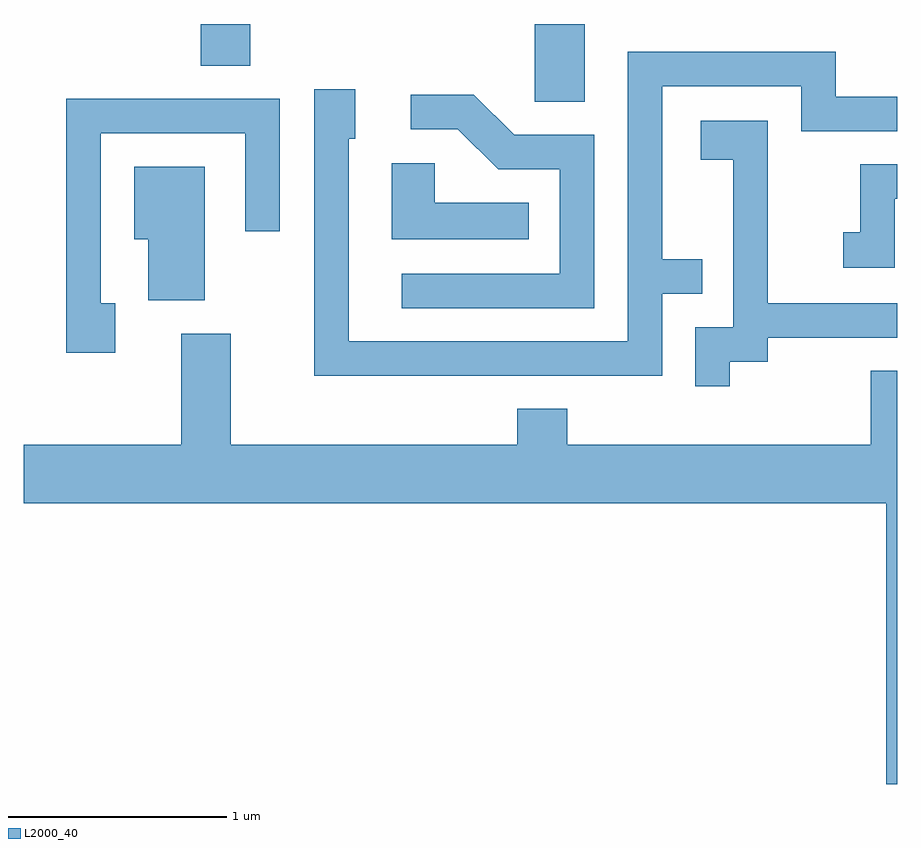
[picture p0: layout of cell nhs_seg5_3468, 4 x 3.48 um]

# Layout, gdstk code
import gdstk
lib = gdstk.Library(unit=1e-6, precision=1e-09)
def R(c, l, rs):  # rectangles x0, y0, x1, y1
    for r in rs: c.add(gdstk.rectangle(r[:2], r[2:], *l))
def P(c, l, *ps):  # polygons
    for p in ps: c.add(gdstk.Polygon(p, *l))
L2000_40 = (2000, 40)

nhs_seg5_3468 = lib.new_cell('nhs_seg5_3468')
R(nhs_seg5_3468, L2000_40, [(289.951,1489.716,290.179,1490.072), (288.421,1489.881,288.649,1490.072)])
P(nhs_seg5_3468, L2000_40, [(290.534,1488.836),(290.718,1488.836),(290.718,1488.994),(290.534,1488.994),(290.534,1489.786),(291.171,1489.786),(291.171,1489.581),(291.611,1489.581),(291.611,1489.739),(291.329,1489.739),(291.329,1489.944),(290.376,1489.944),(290.376,1488.619),(289.099,1488.619),(289.099,1489.546),(289.129,1489.546),(289.129,1489.774),(288.941,1489.774),(288.941,1488.461),(290.534,1488.461)],
  [(290.224,1489.564),(289.857,1489.564),(289.672,1489.749),(289.383,1489.749),(289.383,1489.591),(289.599,1489.591),(289.784,1489.406),(290.066,1489.406),(290.066,1488.929),(289.343,1488.929),(289.343,1488.771),(290.224,1488.771)],
  [(288.029,1488.794),(287.964,1488.794),(287.964,1489.571),(288.626,1489.571),(288.626,1489.123),(288.784,1489.123),(288.784,1489.729),(287.806,1489.729),(287.806,1488.566),(288.029,1488.566)],
  [(290.844,1488.526),(291.019,1488.526),(291.019,1488.636),(291.611,1488.636),(291.611,1488.794),(291.019,1488.794),(291.019,1489.629),(290.711,1489.629),(290.711,1489.451),(290.861,1489.451),(290.861,1488.684),(290.686,1488.684),(290.686,1488.413),(290.844,1488.413)],
  [(289.923,1489.254),(289.494,1489.254),(289.494,1489.434),(289.296,1489.434),(289.296,1489.086),(289.923,1489.086)],
  [(291.599,1489.271),(291.611,1489.271),(291.611,1489.429),(291.441,1489.429),(291.441,1489.119),(291.363,1489.119),(291.363,1488.956),(291.599,1488.956)],
  [(288.439,1489.419),(288.116,1489.419),(288.116,1489.086),(288.181,1489.086),(288.181,1488.806),(288.439,1488.806)],
  [(291.611,1488.484),(291.491,1488.484),(291.491,1488.144),(290.099,1488.144),(290.099,1488.309),(289.871,1488.309),(289.871,1488.144),(288.559,1488.144),(288.559,1488.654),(288.331,1488.654),(288.331,1488.144),(287.611,1488.144),(287.611,1487.876),(291.561,1487.876),(291.561,1486.591),(291.611,1486.591)])

lib.write_gds('nhs_seg5_3468.gds')
